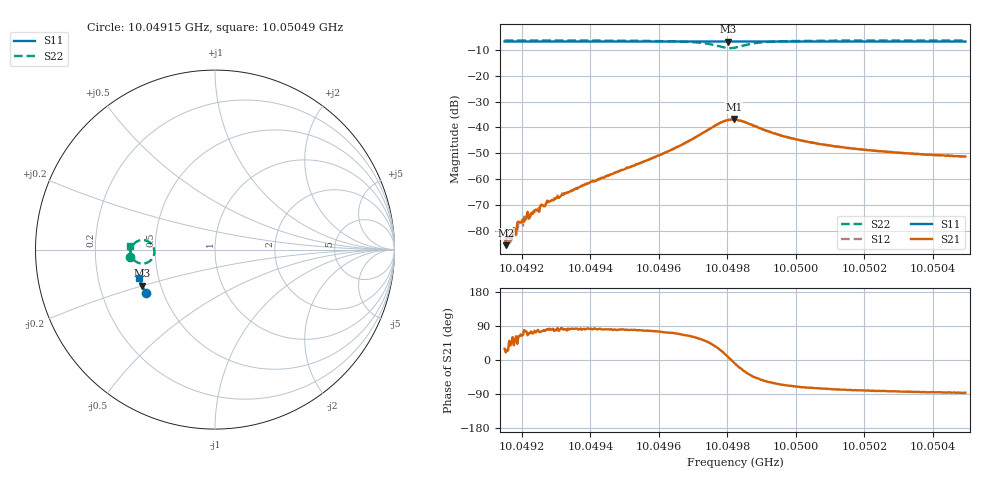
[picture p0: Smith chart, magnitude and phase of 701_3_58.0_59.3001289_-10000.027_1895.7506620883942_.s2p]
#  HZ  S  RI  R  50.00
! Rohde & Schwarz Vector Network Analyzer
! Rohde-Schwarz,ZNB20-2Port,1311601062101988,3.16
! Created: UTC 3/21/2024, 1:21:47 AM
! freq[Hz]  re:S11  im:S11  re:S21  im:S21  re:S12  im:S12  re:S22  im:S22
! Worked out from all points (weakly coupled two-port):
!   401 points, 10.04915 GHz to 10.05049 GHz, reference 50 ohm
!   highest |S21| = -36.91 dB at 10.04982 GHz (marker M1); lowest = -85.5 dB at 10.04915 GHz (marker M2)
!   lowest |S11| = -6.9 dB at 10.0498 GHz (marker M3), VSWR 2.65, Z = 19.8 - j9.95 ohm
!   |S11| at or under -10 dB: nowhere
!   |S22| runs from -9.4 to -6.5 dB; largest |S21 - S12| = 0.0012
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1.004915e10  -0.3865 -0.239  4.98e-05 2.85e-05  6.31e-05 4.55e-05  -0.4734 -0.0397
1.0049153e10  -0.3866 -0.2388  5.02e-05 1.81e-05  4.48e-05 2.58e-05  -0.4735 -0.0395
1.0049177e10  -0.3875 -0.2375  9.02e-05 7.26e-05  4.94e-05 5.39e-05  -0.4736 -0.0374
1.004918e10  -0.3876 -0.2373  6.38e-05 8.48e-05  3.85e-05 7.03e-05  -0.4735 -0.0371
1.0049194e10  -0.3881 -0.2365  6.79e-05 0.000132  8.37e-05 0.000125  -0.4736 -0.036
1.0049204e10  -0.3884 -0.2359  6.92e-05 0.000156  5.74e-05 0.000114  -0.4735 -0.035
1.004921e10  -0.3885 -0.2354  4.25e-05 0.000177  4.26e-05 0.000141  -0.4737 -0.0344
1.0049231e10  -0.3893 -0.2343  7.35e-05 0.000202  5.95e-05 0.000221  -0.4734 -0.0326
1.0049244e10  -0.3897 -0.2335  6.11e-05 0.000246  6.25e-05 0.000249  -0.4735 -0.0313
1.0049281e10  -0.3908 -0.2313  4.82e-05 0.000374  5.84e-05 0.000371  -0.4734 -0.028
1.0049375e10  -0.3939 -0.2259  0.000131 0.000724  5.86e-05 0.000754  -0.4727 -0.0182
1.0049601e10  -0.4007 -0.2126  0.000759 0.00281  0.000604 0.00287  -0.4636 0.0156
1.0049671e10  -0.4027 -0.2082  0.00193 0.00442  0.00164 0.0045  -0.4502 0.0339
1.0049748e10  -0.4043 -0.2033  0.00662 0.00666  0.00622 0.00702  -0.4008 0.0532
1.0049802e10  -0.4049 -0.2004  0.0138 0.00194  0.0135 0.00288  -0.3392 0.0017
1.0049819e10  -0.4053 -0.1998  0.0142 -0.00174  0.0141 -0.000673  -0.3407 -0.0322
1.0049822e10  -0.4055 -0.1997  0.014 -0.00238  0.0141 -0.00127  -0.343 -0.0385
1.0049903e10  -0.4084 -0.1958  0.00555 -0.00743  0.00601 -0.00714  -0.4321 -0.0717
1.0049967e10  -0.4104 -0.1918  0.00268 -0.00613  0.00309 -0.00601  -0.4574 -0.051
1.0050048e10  -0.4126 -0.1867  0.00144 -0.00489  0.00172 -0.00483  -0.468 -0.0316
1.0050273e10  -0.4182 -0.173  0.000426 -0.00334  0.000634 -0.00332  -0.4745 -0.000194
1.0050495e10  -0.4232 -0.1592  0.000172 -0.00276  0.000324 -0.00276  -0.4749 0.0205
